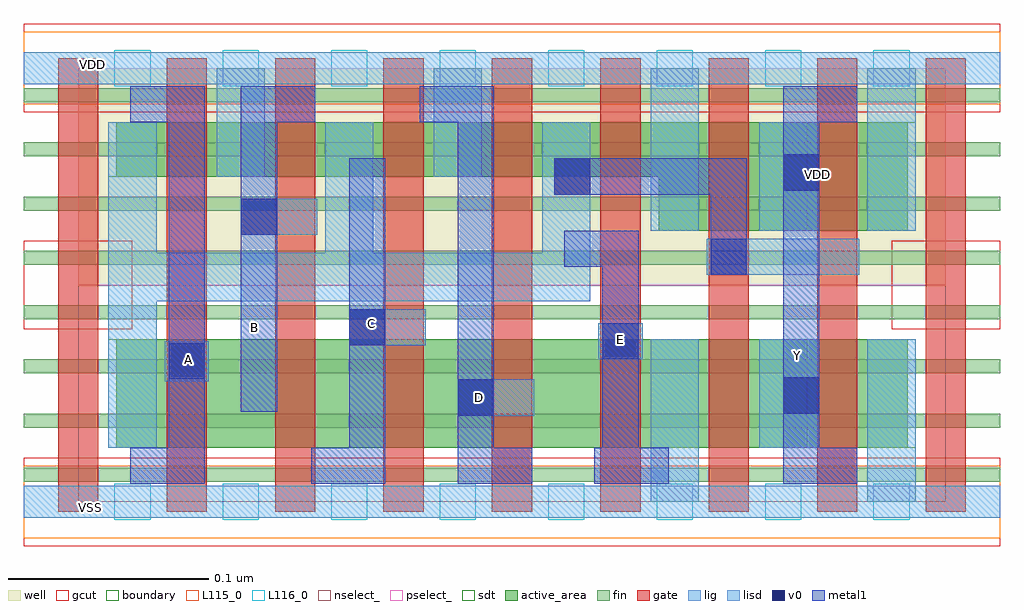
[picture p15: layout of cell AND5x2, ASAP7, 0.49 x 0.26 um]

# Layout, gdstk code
import gdstk
lib = gdstk.Library(unit=1e-6, precision=2.5e-10)
def R(c, l, rs):  # rectangles x0, y0, x1, y1
    for r in rs: c.add(gdstk.rectangle(r[:2], r[2:], *l))
def A(c, l, x, y, w, h, nx, ny, dx, dy):  # array of equal rectangles
    R(c, l, [(x+i*dx, y+j*dy, x+i*dx+w, y+j*dy+h) for i in range(nx) for j in range(ny)])
def P(c, l, *ps):  # polygons
    for p in ps: c.add(gdstk.Polygon(p, *l))
well = (1, 0)
fin = (2, 0)
gate = (7, 0)
gcut = (10, 0)
active_area = (11, 0)
nselect_ = (12, 0)
pselect_ = (13, 0)
lig = (16, 0)
lisd = (17, 0)
v0 = (18, 0)
metal1 = (19, 0)
sdt = (88, 0)
boundary = (100, 0)
L115_0 = (115, 0)
L116_0 = (116, 0)

and5x2 = lib.new_cell('AND5x2')
R(and5x2, well, [(0,0.108,0.432,0.216)])
A(and5x2, fin, -0.027, 0.01, 0.486, 0.007, 1, 8, 0, 0.027)
A(and5x2, gate, -0.01, -0.005, 0.02, 0.226, 8, 1, 0.054, 0)
R(and5x2, gate, [(0.368,-0.005,0.388,0.221), (0.368,-0.005,0.388,0.221), (0.368,-0.005,0.388,0.221), (0.422,-0.005,0.442,0.221), (0.422,-0.005,0.442,0.221)])
R(and5x2, gcut, [(-0.027,-0.022,0.459,0.022), (-0.027,0.086,0.027,0.13), (0.405,0.086,0.459,0.13), (-0.027,0.194,0.459,0.238)])
R(and5x2, active_area, [(0.019,0.027,0.413,0.081)])
P(and5x2, active_area, [(0.413,0.135),(0.289,0.135),(0.289,0.162),(0.019,0.162),(0.019,0.189),(0.413,0.189)])
R(and5x2, nselect_, [(0,0,0.432,0.108)])
R(and5x2, pselect_, [(0,0.108,0.432,0.216)])
R(and5x2, lig, [(-0.027,-0.008,0.459,0.008), (0.189,0.043,0.227,0.061), (0.043,0.06,0.065,0.08), (0.259,0.071,0.281,0.089), (0.135,0.078,0.173,0.096), (0.313,0.113,0.389,0.131), (0.081,0.133,0.119,0.151), (-0.027,0.208,0.459,0.224)])
R(and5x2, lisd, [(0.285,0,0.309,0.081), (0.393,0,0.417,0.081), (0.339,0.027,0.369,0.081), (0.285,0.135,0.309,0.216), (0.339,0.135,0.369,0.189), (0.393,0.135,0.417,0.216), (0.069,0.162,0.093,0.216), (0.177,0.162,0.201,0.216)])
P(and5x2, lisd, [(0.255,0.1),(0.039,0.1),(0.039,0.027),(0.015,0.027),(0.015,0.189),(0.039,0.189),(0.039,0.124),(0.123,0.124),(0.123,0.189),(0.147,0.189),(0.147,0.124),(0.231,0.124),(0.231,0.189),(0.255,0.189)])
R(and5x2, v0, [(0.189,0.043,0.207,0.061), (0.351,0.044,0.369,0.062), (0.045,0.061,0.063,0.079), (0.261,0.071,0.279,0.089), (0.135,0.078,0.153,0.096), (0.315,0.113,0.333,0.131), (0.081,0.133,0.099,0.151), (0.237,0.153,0.255,0.171), (0.351,0.155,0.369,0.173)])
R(and5x2, metal1, [(0.026,0.009,0.063,0.027), (0.045,0.009,0.063,0.207), (0.116,0.009,0.153,0.027), (0.135,0.009,0.153,0.171), (0.189,0.009,0.207,0.207), (0.189,0.009,0.226,0.027), (0.257,0.009,0.294,0.027), (0.261,0.009,0.279,0.135), (0.351,0.009,0.369,0.207), (0.351,0.009,0.388,0.027), (0.081,0.045,0.099,0.207), (0.315,0.113,0.333,0.171), (0.242,0.117,0.279,0.135), (0.237,0.153,0.315,0.171), (0.026,0.189,0.063,0.207), (0.081,0.189,0.118,0.207), (0.17,0.189,0.207,0.207), (0.351,0.189,0.388,0.207)])
A(and5x2, sdt, 0.285, 0.027, 0.024, 0.054, 3, 2, 0.054, 0.108)
A(and5x2, sdt, 0.015, 0.162, 0.024, 0.027, 5, 1, 0.054, 0)
R(and5x2, sdt, [(0.015,0.027,0.039,0.081)])
R(and5x2, boundary, [(0,0,0.432,0.216)])
R(and5x2, L115_0, [(-0.027,-0.018,0.459,0.018), (-0.027,0.198,0.459,0.234)])
A(and5x2, L116_0, 0.018, -0.009, 0.018, 0.018, 8, 2, 0.054, 0.216)
and5x2.add(gdstk.Label('Y', (0.358,0.073), layer=19, texttype=251))
and5x2.add(gdstk.Label('C', (0.146,0.089), layer=19, texttype=251))
and5x2.add(gdstk.Label('A', (0.055,0.071), layer=19, texttype=251))
and5x2.add(gdstk.Label('E', (0.27,0.081), layer=19, texttype=251))
and5x2.add(gdstk.Label('D', (0.2,0.052), layer=19, texttype=251))
and5x2.add(gdstk.Label('B', (0.088,0.087), layer=19, texttype=251))
and5x2.add(gdstk.Label('VDD', (0.368,0.163), layer=1, texttype=251))
and5x2.add(gdstk.Label('VSS', (0.503,0.163), layer=3, texttype=251))
and5x2.add(gdstk.Label('VDD', (0.007,0.218), layer=115, texttype=251))
and5x2.add(gdstk.Label('VSS', (0.006,-0.003), layer=115, texttype=251))

lib.write_gds('AND5x2.gds')
